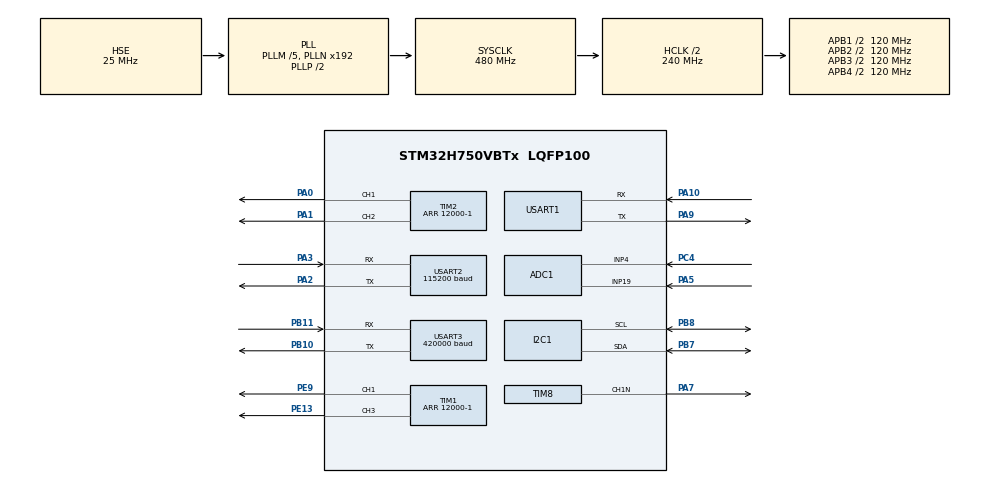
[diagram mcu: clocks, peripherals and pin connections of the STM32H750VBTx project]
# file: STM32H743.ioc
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ADC1.Channel-0\#ChannelRegularConversion=ADC_CHANNEL_4
ADC1.NbrOfConversionFlag=1
ADC1.OffsetNumber-0\#ChannelRegularConversion=ADC_OFFSET_NONE
ADC1.OffsetSignedSaturation-0\#ChannelRegularConversion=DISABLE
ADC1.Rank-0\#ChannelRegularConversion=1
ADC1.SamplingTime-0\#ChannelRegularConversion=ADC_SAMPLETIME_1CYCLE_5
ADC1.master=1
CORTEX_M7.CPU_DCache=Enabled
CORTEX_M7.CPU_ICache=Enabled
CORTEX_M7.default_mode_Activation=0
Dma.ADC1.0.Direction=DMA_PERIPH_TO_MEMORY
Dma.ADC1.0.EventEnable=DISABLE
Dma.ADC1.0.FIFOMode=DMA_FIFOMODE_DISABLE
Dma.ADC1.0.Instance=DMA1_Stream0
Dma.ADC1.0.MemDataAlignment=DMA_MDATAALIGN_HALFWORD
Dma.ADC1.0.MemInc=DMA_MINC_ENABLE
Dma.ADC1.0.Mode=DMA_CIRCULAR
Dma.ADC1.0.PeriphDataAlignment=DMA_PDATAALIGN_HALFWORD
Dma.ADC1.0.PeriphInc=DMA_PINC_DISABLE
Dma.ADC1.0.Polarity=HAL_DMAMUX_REQ_GEN_RISING
Dma.ADC1.0.Priority=DMA_PRIORITY_LOW
Dma.ADC1.0.RequestNumber=1
Dma.ADC1.0.SignalID=NONE
Dma.ADC1.0.SyncEnable=DISABLE
Dma.ADC1.0.SyncPolarity=HAL_DMAMUX_SYNC_NO_EVENT
Dma.ADC1.0.SyncRequestNumber=1
Dma.ADC1.0.SyncSignalID=NONE
Dma.Request0=ADC1
Dma.Request1=USART3_RX
Dma.USART3_RX.1.Direction=DMA_PERIPH_TO_MEMORY
Dma.USART3_RX.1.EventEnable=DISABLE
Dma.USART3_RX.1.FIFOMode=DMA_FIFOMODE_DISABLE
Dma.USART3_RX.1.Instance=DMA1_Stream1
Dma.USART3_RX.1.MemDataAlignment=DMA_MDATAALIGN_BYTE
Dma.USART3_RX.1.MemInc=DMA_MINC_ENABLE
Dma.USART3_RX.1.Mode=DMA_CIRCULAR
Dma.USART3_RX.1.PeriphDataAlignment=DMA_PDATAALIGN_BYTE
Dma.USART3_RX.1.PeriphInc=DMA_PINC_DISABLE
Dma.USART3_RX.1.Polarity=HAL_DMAMUX_REQ_GEN_RISING
Dma.USART3_RX.1.Priority=DMA_PRIORITY_LOW
Dma.USART3_RX.1.RequestNumber=1
Dma.USART3_RX.1.SignalID=NONE
Dma.USART3_RX.1.SyncEnable=DISABLE
Dma.USART3_RX.1.SyncPolarity=HAL_DMAMUX_SYNC_NO_EVENT
Dma.USART3_RX.1.SyncRequestNumber=1
Dma.USART3_RX.1.SyncSignalID=NONE
I2C1.Timing=0x307075B1
Mcu.Family=STM32H7
Mcu.Name=STM32H750VBTx
Mcu.Package=LQFP100
NVIC.ADC_IRQn=true\:0\:0\:false\:false\:true\:true\:true\:true
NVIC.DMA1_Stream0_IRQn=true\:0\:0\:false\:false\:true\:false\:true\:true
NVIC.DMA1_Stream1_IRQn=true\:0\:0\:false\:false\:true\:false\:true\:true
NVIC.PriorityGroup=NVIC_PRIORITYGROUP_4
NVIC.USART1_IRQn=true\:0\:0\:false\:false\:true\:true\:true\:true
NVIC.USART2_IRQn=true\:0\:0\:false\:false\:true\:true\:true\:true
NVIC.USART3_IRQn=true\:0\:0\:false\:false\:true\:true\:true\:true
PA0.Signal=S_TIM2_CH1_ETR
PA1.Signal=S_TIM2_CH2
PA10.GPIO_Speed=GPIO_SPEED_FREQ_VERY_HIGH
PA10.Mode=Asynchronous
PA10.Signal=USART1_RX
PA13\ (JTMS/SWDIO).Mode=Serial_Wire
PA13\ (JTMS/SWDIO).Signal=DEBUG_JTMS-SWDIO
PA14\ (JTCK/SWCLK).Mode=Serial_Wire
PA14\ (JTCK/SWCLK).Signal=DEBUG_JTCK-SWCLK
PA2.Mode=Asynchronous
PA2.Signal=USART2_TX
PA3.Mode=Asynchronous
PA3.Signal=USART2_RX
PA5.Signal=ADCx_INP19
PA7.Mode=PWM Generation1 CH1N
PA7.Signal=TIM8_CH1N
PA9.GPIO_Speed=GPIO_SPEED_FREQ_VERY_HIGH
PA9.Mode=Asynchronous
PA9.Signal=USART1_TX
PB10.Mode=Asynchronous
PB10.Signal=USART3_TX
PB11.Mode=Asynchronous
PB11.Signal=USART3_RX
PB7.Mode=I2C
PB7.Signal=I2C1_SDA
PB8.Mode=I2C
PB8.Signal=I2C1_SCL
PC4.Signal=ADCx_INP4
PE13.Signal=S_TIM1_CH3
PE9.Signal=S_TIM1_CH1
PH0-OSC_IN\ (PH0).Mode=HSE-External-Oscillator
PH0-OSC_IN\ (PH0).Signal=RCC_OSC_IN
PH1-OSC_OUT\ (PH1).Mode=HSE-External-Oscillator
PH1-OSC_OUT\ (PH1).Signal=RCC_OSC_OUT
ProjectManager.HeapSize=0x200
ProjectManager.StackSize=0x400
ProjectManager.TargetToolchain=MDK-ARM V5.32
RCC.ADCFreq_Value=75000000
RCC.APB1Freq_Value=120000000
RCC.APB2Freq_Value=120000000
RCC.APB3Freq_Value=120000000
RCC.APB4Freq_Value=120000000
RCC.CortexFreq_Value=480000000
RCC.D1PPRE=RCC_APB3_DIV2
RCC.D2PPRE1=RCC_APB1_DIV2
RCC.D2PPRE2=RCC_APB2_DIV2
RCC.D3PPRE=RCC_APB4_DIV2
RCC.DIVM1=5
RCC.DIVM2=2
RCC.DIVN1=192
RCC.DIVN2=12
RCC.DIVQ1=4
RCC.HCLKFreq_Value=240000000
RCC.HPRE=RCC_HCLK_DIV2
RCC.PLLSourceVirtual=RCC_PLLSOURCE_HSE
RCC.PWR_Regulator_Voltage_Scale=PWR_REGULATOR_VOLTAGE_SCALE0
RCC.ProductRev=revV
RCC.RTCClockSelection=RCC_RTCCLKSOURCE_LSE
RCC.SYSCLKFreq_VALUE=480000000
RCC.SYSCLKSource=RCC_SYSCLKSOURCE_PLLCLK
RCC.USBCLockSelection=RCC_USBCLKSOURCE_HSI48
RCC.USBFreq_Value=48000000
SH.ADCx_INP19.0=ADC1_INP19,IN19-Single-Ended
SH.ADCx_INP4.0=ADC1_INP4,IN4-Single-Ended
SH.S_TIM1_CH1.0=TIM1_CH1,PWM Generation1 CH1
SH.S_TIM1_CH3.0=TIM1_CH3,PWM Generation3 CH3
SH.S_TIM2_CH1_ETR.0=TIM2_CH1,PWM Generation1 CH1
SH.S_TIM2_CH2.0=TIM2_CH2,PWM Generation2 CH2
TIM1.AutoReloadPreload=TIM_AUTORELOAD_PRELOAD_ENABLE
TIM1.Channel-PWM\ Generation1\ CH1=TIM_CHANNEL_1
TIM1.Channel-PWM\ Generation3\ CH3=TIM_CHANNEL_3
TIM1.Period=12000-1
TIM2.AutoReloadPreload=TIM_AUTORELOAD_PRELOAD_ENABLE
TIM2.Channel-PWM\ Generation1\ CH1=TIM_CHANNEL_1
TIM2.Channel-PWM\ Generation2\ CH2=TIM_CHANNEL_2
TIM2.Period=12000-1
TIM8.Channel-PWM\ Generation1\ CH1N=TIM_CHANNEL_1
USART1.VirtualMode-Asynchronous=VM_ASYNC
USART2.BaudRate=115200
USART2.VirtualMode-Asynchronous=VM_ASYNC
USART3.BaudRate=420000
USART3.VirtualMode-Asynchronous=VM_ASYNC
VP_MEMORYMAP_VS_MEMORYMAP.Mode=CurAppReg
VP_TIM1_VS_ClockSourceINT.Mode=Internal
VP_TIM2_VS_ClockSourceINT.Mode=Internal
board=custom

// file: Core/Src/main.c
/* USER CODE BEGIN Header */
/**
  ******************************************************************************
  * @file           : main.c
  * @brief          : Main program body
  ******************************************************************************
  * @attention
  *
  * Copyright (c) 2026 STMicroelectronics.
  * All rights reserved.
  *
  * This software is licensed under terms that can be found in the LICENSE file
  * in the root directory of this software component.
  * If no LICENSE file comes with this software, it is provided AS-IS.
  *
  ******************************************************************************
  */
/* USER CODE END Header */
#include "main.h"

/* USER CODE BEGIN Includes */
#include "led.h"
#include "oled.h"
#include "pid.h"
#include "usart.h"
#include "vofa.h"
#include "adc.h"
#include "motor.h"
#include "crsf_task.h"
/* USER CODE END Includes */

/* USER CODE BEGIN PD */
#define UART1_ADC_DEBUG_ENABLE        0U
#define UART1_ADC_DEBUG_PERIOD_MS   100U

#define CURRENT_PID_LOOP_PERIOD_MS   20U
#define CURRENT_PID_OUTPUT_LIMIT_MA  5000.0f
#define CURRENT_PID_INT_LIMIT        1000.0f
#define CURRENT_PID_FEEDBACK_CH      1U  /* 1 = ADC ch1, 2 = ADC ch2 */
#define VOFA_TX_PERIOD_MS            10U
#define VOFA_TX_FLOAT_COUNT          4U
/* CRSF UART link on the FC side uses 420000 8N1 in this project. */
#define CRSF_UART_BAUDRATE        420000U

/* USER CODE END PD */

ADC_HandleTypeDef hadc1;
DMA_HandleTypeDef hdma_adc1;

I2C_HandleTypeDef hi2c1;

TIM_HandleTypeDef htim1;
TIM_HandleTypeDef htim2;
TIM_HandleTypeDef htim8;

UART_HandleTypeDef huart1;
UART_HandleTypeDef huart2;
UART_HandleTypeDef huart3;
DMA_HandleTypeDef hdma_usart3_rx;

/* USER CODE BEGIN PV */
static volatile float s_current_pid_fwd_kp = 0.90f;
static volatile float s_current_pid_fwd_ki = 0.35f;
static volatile float s_current_pid_fwd_kd = 0.00f;
static volatile float s_current_pid_rev_kp = 0.90f;
static volatile float s_current_pid_rev_ki = 0.35f;
static volatile float s_current_pid_rev_kd = 0.00f;
static volatile float s_current_pid_target_mA = 0.0f;
static volatile float s_motor_b_target_mA     = 0.0f;
static volatile float s_current_pid_feedback_mA = 0.0f;
static volatile float s_current_pid_error_mA = 0.0f;
static volatile float s_current_pid_output_mA = 0.0f;
static volatile uint8_t s_current_pid_param_updated = 0U;
static volatile uint8_t s_target_from_vofa = 1U;
static current_pid_t s_current_pid = {0};
static uint32_t s_reset_flags = 0U;
volatile uint8_t g_pid_run_flag = 0U;
/* USER CODE END PV */

void SystemClock_Config(void);
static void MX_GPIO_Init(void);
static void MX_DMA_Init(void);
static void MX_USART1_UART_Init(void);
static void MX_ADC1_Init(void);
static void MX_TIM1_Init(void);
static void MX_TIM2_Init(void);
static void MX_TIM8_Init(void);
static void MX_USART2_UART_Init(void);
static void MX_I2C1_Init(void);
static void MX_USART3_UART_Init(void);
/* USER CODE BEGIN PFP */
static void App_CaptureResetCause(void);
static void App_PrintResetCause(void);
static void App_CurrentPidApplyConfig(void);
static float App_CurrentPidStep(float target_mA, float feedback_mA, float dt_s);

/* USER CODE END PFP */

/* USER CODE BEGIN 0 */
static void App_CaptureResetCause(void)
{
  s_reset_flags = RCC->RSR;
  __HAL_RCC_CLEAR_RESET_FLAGS();
}

static void App_PrintResetCause(void)
{
  printf("RESET: RSR=0x%08lX [%s%s%s%s%s%s]\r\n",
      (unsigned long)s_reset_flags,
      ((s_reset_flags & RCC_RSR_PINRSTF) != 0U) ? "PIN " : "",
      ((s_reset_flags & RCC_RSR_PORRSTF) != 0U) ? "POR " : "",
      ((s_reset_flags & RCC_RSR_BORRSTF) != 0U) ? "BOR " : "",
      ((s_reset_flags & RCC_RSR_SFTRSTF) != 0U) ? "SFT " : "",
      ((s_reset_flags & RCC_RSR_IWDG1RSTF) != 0U) ? "IWDG " : "",
      ((s_reset_flags & RCC_RSR_WWDG1RSTF) != 0U) ? "WWDG " : "");
}

static void App_CurrentPidApplyConfig(void)
{
  CurrentPID_Init(&s_current_pid,
                  s_current_pid_fwd_kp,
                  s_current_pid_fwd_ki,
                  s_current_pid_fwd_kd,
                  s_current_pid_rev_kp,
                  s_current_pid_rev_ki,
                  s_current_pid_rev_kd,
                  CURRENT_PID_INT_LIMIT,
                  CURRENT_PID_OUTPUT_LIMIT_MA);
}

static float App_CurrentPidStep(float target_mA, float feedback_mA, float dt_s)
{
  s_current_pid_error_mA = target_mA - feedback_mA;
  return CurrentPID_Compute(&s_current_pid, target_mA, feedback_mA, dt_s);
}

static void App_VofaParamHandler(uint16_t id, float value)
{
  uint8_t handled = 0U;

	if (id == VOFA_PARAM_ID_CURRENT_FWD_KP)
	{
    s_current_pid_fwd_kp = value;
    handled = 1U;
	}
	else if (id == VOFA_PARAM_ID_CURRENT_FWD_KI)
	{
    s_current_pid_fwd_ki = value;
    handled = 1U;
	}
	else if (id == VOFA_PARAM_ID_CURRENT_REV_KP)
	{
    s_current_pid_rev_kp = value;
    handled = 1U;
	}
	else if (id == VOFA_PARAM_ID_CURRENT_REV_KI)
	{
    s_current_pid_rev_ki = value;
    handled = 1U;
	}
	else if (id == VOFA_PARAM_ID_TARGET_MA)
	{
    s_current_pid_target_mA = value;
    s_target_from_vofa = 1U;
  }

  if (handled != 0U)
  {
    s_current_pid_param_updated = 1U;
  }
}
/* USER CODE END 0 */

int main(void)
{

  /* USER CODE BEGIN 1 */
  /* Test variables for UART printf retargeting */
//  uint16_t a = 128;
//	float b = 9.123456;
//	char* show_buffer[128];
	uint16_t adc_raw[2] = {0};
  uint32_t last_uart1_adc_tick = 0U;
  uint32_t last_uart1_rc_tick = 0U;
  int16_t last_rc_lx10 = 0;
  int16_t last_rc_ly10 = 0;
  int16_t last_rc_rx10 = 0;
  int16_t last_rc_ry10 = 0;
  uint8_t last_rc_a = 0U;
  uint8_t last_rc_b = 0U;
  uint8_t last_rc_c = 0U;
  uint8_t last_rc_d = 0U;
  uint8_t last_rc_e = 0U;
  uint8_t last_rc_f = 0U;
  uint8_t last_rc_lq = 0U;
  uint16_t last_rc_hb = 0U;
  uint8_t rc_print_initialized = 0U;
  uint32_t last_vofa_tx_tick = 0U;
  uint32_t last_vofa_err_print_tick = 0U;
  uint32_t last_vofa_err_count = 0U;
  uint32_t last_crsf_diag_tick = 0U;
  uint32_t last_crsf_no_frame_tick = 0U;
  uint8_t last_crsf_connected = 0xFFU;
  uint32_t last_crsf_frame_count = 0U;
  uint32_t last_crsf_err_count = 0U;
  /* USER CODE END 1 */

  /* Enable the CPU Cache */

  /* Enable I-Cache---------------------------------------------------------*/
  SCB_EnableICache();

  /* Enable D-Cache---------------------------------------------------------*/
  SCB_EnableDCache();

  /* MCU Configuration--------------------------------------------------------*/

  /* Reset of all peripherals, Initializes the Flash interface and the Systick. */
  HAL_Init();

  /* Configure the system clock */
  SystemClock_Config();

  /* Initialize all configured peripherals */
  MX_GPIO_Init();
  MX_DMA_Init();
  MX_USART1_UART_Init();
  MX_ADC1_Init();
  MX_TIM1_Init();
  MX_TIM2_Init();
  MX_TIM8_Init();
  MX_USART2_UART_Init();
  MX_I2C1_Init();
  MX_USART3_UART_Init();
  /* USER CODE BEGIN 2 */
  LED_Init();
  App_PrintResetCause();
  printf("BOOT: LED_Init done\r\n");

  VOFA_Init();
  printf("BOOT: VOFA_Init done\r\n");

  VOFA_SetParamCallback(App_VofaParamHandler);

  printf("BOOT: VOFA_Begin start\r\n");
  if (VOFA_Begin() != HAL_OK)
	{
		Error_Handler();
	}
  printf("BOOT: VOFA_Begin done\r\n");
  App_CurrentPidApplyConfig();

  // printf("BOOT: OLED_Init start\r\n");
	// OLED_Init();
  // printf("BOOT: OLED_Init done\r\n");

	/* Initialize ADC for current sensing */
  printf("BOOT: ADC_Init start\r\n");
	ADC_Init();
  printf("BOOT: ADC_Init done\r\n");

  printf("BOOT: ADC_StartDMA start\r\n");
	if (ADC_StartDMA() != HAL_OK)
	{
		Error_Handler();
	}
  printf("BOOT: ADC_StartDMA done\r\n");

  /* Initialize TIM1/TIM2 and start PWM channels.
   * Starting TIM1 also enables TIM1 TRGO, which triggers ADC conversions. */
  Motor_Init();
  printf("BOOT: Motor_Init done\r\n");

  CRSF_Init();
  printf("BOOT: CRSF_Init done (USART3 PB11 @ %lu)\r\n", (unsigned long)CRSF_UART_BAUDRATE);

  printf("VOFA param map: #P1=fwd_kp #P2=fwd_ki #P3=rev_kp #P4=rev_ki #P5=target_mA\r\n");
  printf("VOFA wave map: ch0=target ch1=feedback ch2=output ch3=error (4ch, 10Hz)\r\n");

  printf("STM32H743 initialized\r\n");
	printf("printf testing\r\n");
  /* USER CODE END 2 */

  /* Infinite loop */
  while (1)
  {

    /* USER CODE BEGIN 3 */
		// LED1_Toggle;
		// HAL_Delay(1);

    VOFA_ProcessRx();

    if ((HAL_GetTick() - last_vofa_tx_tick) >= VOFA_TX_PERIOD_MS)
    {
      float vofa_frame[VOFA_TX_FLOAT_COUNT];

      last_vofa_tx_tick = HAL_GetTick();

      vofa_frame[0] = s_current_pid_target_mA;
      vofa_frame[1] = s_current_pid_feedback_mA;
      vofa_frame[2] = s_current_pid_output_mA;
      vofa_frame[3] = s_current_pid_error_mA;

      (void)VOFA_SendFloats(vofa_frame, VOFA_TX_FLOAT_COUNT);
    }

    if ((HAL_GetTick() - last_vofa_err_print_tick) >= 200U)
    {
      uint32_t err_count = VOFA_GetUartErrorCount();
      if (err_count != last_vofa_err_count)
      {
        last_vofa_err_count = err_count;
        printf("VOFA UART err cnt=%lu code=0x%08lX isr=0x%08lX\r\n",
            (unsigned long)err_count,
            (unsigned long)VOFA_GetUartLastError(),
            (unsigned long)VOFA_GetUartLastIsr());
      }
      last_vofa_err_print_tick = HAL_GetTick();
    }

    if ((HAL_GetTick() - last_crsf_diag_tick) >= 200U)
    {
      crsf_status_t st = {0};
      uint32_t crsf_idle_ms;
      CRSF_GetStatus(&st);
      crsf_idle_ms = HAL_GetTick() - st.last_frame_tick;

      if ((st.connected != last_crsf_connected)
          || (st.frame_count != last_crsf_frame_count)
          || (st.error_count != last_crsf_err_count))
      {
        last_crsf_connected = st.connected;
        last_crsf_frame_count = st.frame_count;
        last_crsf_err_count = st.error_count;
        printf("CRSF st: conn=%u idle_ms=%lu frame=%u err=%u parse=%u uart_tot=%u uart(pe=%u fe=%u ne=%u ore=%u) last=0x%08lX\r\n",
            (unsigned int)st.connected,
            (unsigned long)crsf_idle_ms,
            (unsigned int)st.frame_count,
            (unsigned int)st.error_count,
          (unsigned int)st.parse_error_count,
          (unsigned int)st.uart_error_total,
            (unsigned int)st.uart_err_pe,
            (unsigned int)st.uart_err_fe,
            (unsigned int)st.uart_err_ne,
            (unsigned int)st.uart_err_ore,
            (unsigned long)st.last_uart_error);
        printf("  parse_detail: sync_loss=%u sync_skip=%u len_err=%u crc=%u unknown_type=%u rc_fail=%u short=%u\r\n",
          (unsigned int)st.parse_detail.sync_loss_events,
          (unsigned int)st.parse_detail.sync_skip_bytes,
            (unsigned int)st.parse_detail.len_invalid,
            (unsigned int)st.parse_detail.crc_error,
            (unsigned int)st.parse_detail.unknown_type,
            (unsigned int)st.parse_detail.rc_decode_fail,
            (unsigned int)st.parse_detail.frame_too_short);
      }
      last_crsf_diag_tick = HAL_GetTick();

      if ((st.frame_count == 0U) && ((HAL_GetTick() - last_crsf_no_frame_tick) >= 1000U))
      {
        last_crsf_no_frame_tick = HAL_GetTick();
        printf("CRSF no frame: conn=%u idle_ms=%lu uart_tot=%u last=0x%08lX\r\n",
            (unsigned int)st.connected,
            (unsigned long)crsf_idle_ms,
            (unsigned int)st.uart_error_total,
            (unsigned long)st.last_uart_error);
      }
    }

    if ((HAL_GetTick() - last_uart1_rc_tick) >= 100U)
    {
      ELRS_Data rc_data = {0};
      int16_t lx10;
      int16_t ly10;
      int16_t rx10;
      int16_t ry10;
      CRSF_GetElrsData(&rc_data);
      if (rc_data.valid != 0U)
      {
        lx10 = (int16_t)(rc_data.Left_X * 10.0f);
        ly10 = (int16_t)(rc_data.Left_Y * 10.0f);
        rx10 = (int16_t)(rc_data.Right_X * 10.0f);
        ry10 = (int16_t)(rc_data.Right_Y * 10.0f);

        if ((rc_print_initialized == 0U)
            || (lx10 != last_rc_lx10)
            || (ly10 != last_rc_ly10)
            || (rx10 != last_rc_rx10)
            || (ry10 != last_rc_ry10)
            || (rc_data.A != last_rc_a)
            || (rc_data.B != last_rc_b)
            || (rc_data.C != last_rc_c)
            || (rc_data.D != last_rc_d)
            || (rc_data.E != last_rc_e)
            || (rc_data.F != last_rc_f)
            || (rc_data.uplink_Link_quality != last_rc_lq)
            || (rc_data.heartbeat_counter != last_rc_hb))
        {
          printf("RC LX=%.1f LY=%.1f RX=%.1f RY=%.1f A=%u B=%u C=%u D=%u E=%u F=%u LQ=%u HB=%u\r\n",
              (double)rc_data.Left_X,
              (double)rc_data.Left_Y,
              (double)rc_data.Right_X,
              (double)rc_data.Right_Y,
              (unsigned int)rc_data.A,
              (unsigned int)rc_data.B,
              (unsigned int)rc_data.C,
              (unsigned int)rc_data.D,
              (unsigned int)rc_data.E,
              (unsigned int)rc_data.F,
              (unsigned int)rc_data.uplink_Link_quality,
              (unsigned int)rc_data.heartbeat_counter);

          last_rc_lx10 = lx10;
          last_rc_ly10 = ly10;
          last_rc_rx10 = rx10;
          last_rc_ry10 = ry10;
          last_rc_a = rc_data.A;
          last_rc_b = rc_data.B;
          last_rc_c = rc_data.C;
          last_rc_d = rc_data.D;
          last_rc_e = rc_data.E;
          last_rc_f = rc_data.F;
          last_rc_lq = rc_data.uplink_Link_quality;
          last_rc_hb = rc_data.heartbeat_counter;
          rc_print_initialized = 1U;
        }
      }
      last_uart1_rc_tick = HAL_GetTick();
    }

    if (g_pid_run_flag != 0U)
		{
			float current_ch1_mA;
			float current_ch2_mA;

      g_pid_run_flag = 0U;

      if (s_current_pid_param_updated != 0U)
      {
        s_current_pid_param_updated = 0U;
        App_CurrentPidApplyConfig();
        printf("VOFA fwd(kp=%.3f ki=%.3f kd=%.3f) rev(kp=%.3f ki=%.3f kd=%.3f) target=%.3f\r\n",
            (double)s_current_pid_fwd_kp,
            (double)s_current_pid_fwd_ki,
            (double)s_current_pid_fwd_kd,
            (double)s_current_pid_rev_kp,
            (double)s_current_pid_rev_ki,
            (double)s_current_pid_rev_kd,
            (double)s_current_pid_target_mA);
      }

      /* CRSF timeout check + RC→target mixing */
      CRSF_Process();
      {
          crsf_input_t rc = {0};
          CRSF_GetInput(&rc);
          if (rc.valid && (rc.estop == 0U) && (rc.handbrake == 0U))
          {
              /* Tank-steer mixing: A = throttle+steer, B = throttle-steer */
              s_current_pid_target_mA = (rc.throttle + rc.steering) * CURRENT_PID_OUTPUT_LIMIT_MA;
              s_motor_b_target_mA     = (rc.throttle - rc.steering) * CURRENT_PID_OUTPUT_LIMIT_MA;
              s_target_from_vofa      = 0U;
          }
          else
          {
              if (s_target_from_vofa == 0U)
              {
                  s_current_pid_target_mA = 0.0f;
              }
              s_motor_b_target_mA = 0.0f;
          }
      }

			/* Read ADC current values */
			ADC_GetValues(adc_raw);
			current_ch1_mA = ADC_RawToCurrent_mA(adc_raw[0]);
			current_ch2_mA = ADC_RawToCurrent_mA(adc_raw[1]);

#if (UART1_ADC_DEBUG_ENABLE != 0U)
      if ((HAL_GetTick() - last_uart1_adc_tick) >= UART1_ADC_DEBUG_PERIOD_MS)
      {
        last_uart1_adc_tick = HAL_GetTick();
    printf("ADC raw: ch1=%u, %.2fmA | ch2=%u, %.2fmA | fb_ch=%u, fb=%.2fmA\r\n",
            (unsigned int)adc_raw[0],
            (double)current_ch1_mA,
            (unsigned int)adc_raw[1],
    (double)current_ch2_mA,
    (unsigned int)CURRENT_PID_FEEDBACK_CH,
    (double)s_current_pid_feedback_mA);
      }
#endif

#if (CURRENT_PID_FEEDBACK_CH == 1U)
      s_current_pid_feedback_mA = current_ch1_mA;
#else
      s_current_pid_feedback_mA = current_ch2_mA;
#endif

      s_current_pid_output_mA = App_CurrentPidStep(
          s_current_pid_target_mA,
          s_current_pid_feedback_mA,
          (float)CURRENT_PID_LOOP_PERIOD_MS / 1000.0f);

      Motor_SetOutput(MOTOR_A, s_current_pid_output_mA, CURRENT_PID_OUTPUT_LIMIT_MA);
      Motor_SetOutput(MOTOR_B, s_motor_b_target_mA,    CURRENT_PID_OUTPUT_LIMIT_MA);
		}
  }
  /* USER CODE END 3 */
}

void SystemClock_Config(void)
{
  RCC_OscInitTypeDef RCC_OscInitStruct = {0};
  RCC_ClkInitTypeDef RCC_ClkInitStruct = {0};

  /** Supply configuration update enable
  */
  HAL_PWREx_ConfigSupply(PWR_LDO_SUPPLY);

  /** Configure the main internal regulator output voltage
  */
  __HAL_PWR_VOLTAGESCALING_CONFIG(PWR_REGULATOR_VOLTAGE_SCALE0);

  while(!__HAL_PWR_GET_FLAG(PWR_FLAG_VOSRDY)) {}

  /** Initializes the RCC Oscillators according to the specified parameters
  * in the RCC_OscInitTypeDef structure.
  */
  RCC_OscInitStruct.OscillatorType = RCC_OSCILLATORTYPE_HSE;
  RCC_OscInitStruct.HSEState = RCC_HSE_ON;
  RCC_OscInitStruct.PLL.PLLState = RCC_PLL_ON;
  RCC_OscInitStruct.PLL.PLLSource = RCC_PLLSOURCE_HSE;
  RCC_OscInitStruct.PLL.PLLM = 5;
  RCC_OscInitStruct.PLL.PLLN = 192;
  RCC_OscInitStruct.PLL.PLLP = 2;
  RCC_OscInitStruct.PLL.PLLQ = 4;
  RCC_OscInitStruct.PLL.PLLR = 2;
  RCC_OscInitStruct.PLL.PLLRGE = RCC_PLL1VCIRANGE_2;
  RCC_OscInitStruct.PLL.PLLVCOSEL = RCC_PLL1VCOWIDE;
  RCC_OscInitStruct.PLL.PLLFRACN = 0;
  if (HAL_RCC_OscConfig(&RCC_OscInitStruct) != HAL_OK)
  {
    Error_Handler();
  }

  /** Initializes the CPU, AHB and APB buses clocks
  */
  RCC_ClkInitStruct.ClockType = RCC_CLOCKTYPE_HCLK|RCC_CLOCKTYPE_SYSCLK
                              |RCC_CLOCKTYPE_PCLK1|RCC_CLOCKTYPE_PCLK2
                              |RCC_CLOCKTYPE_D3PCLK1|RCC_CLOCKTYPE_D1PCLK1;
  RCC_ClkInitStruct.SYSCLKSource = RCC_SYSCLKSOURCE_PLLCLK;
  RCC_ClkInitStruct.SYSCLKDivider = RCC_SYSCLK_DIV1;
  RCC_ClkInitStruct.AHBCLKDivider = RCC_HCLK_DIV2;
  RCC_ClkInitStruct.APB3CLKDivider = RCC_APB3_DIV2;
  RCC_ClkInitStruct.APB1CLKDivider = RCC_APB1_DIV2;
  RCC_ClkInitStruct.APB2CLKDivider = RCC_APB2_DIV2;
  RCC_ClkInitStruct.APB4CLKDivider = RCC_APB4_DIV2;

  if (HAL_RCC_ClockConfig(&RCC_ClkInitStruct, FLASH_LATENCY_4) != HAL_OK)
  {
    Error_Handler();
  }
}

static void MX_ADC1_Init(void)
{

  ADC_MultiModeTypeDef multimode = {0};
  ADC_ChannelConfTypeDef sConfig = {0};

  /** Common config
  */
  hadc1.Instance = ADC1;
  hadc1.Init.ClockPrescaler = ADC_CLOCK_ASYNC_DIV1;
  hadc1.Init.Resolution = ADC_RESOLUTION_16B;
  hadc1.Init.ScanConvMode = ADC_SCAN_DISABLE;
  hadc1.Init.EOCSelection = ADC_EOC_SINGLE_CONV;
  hadc1.Init.LowPowerAutoWait = DISABLE;
  hadc1.Init.ContinuousConvMode = DISABLE;
  hadc1.Init.NbrOfConversion = 1;
  hadc1.Init.DiscontinuousConvMode = DISABLE;
  hadc1.Init.ExternalTrigConv = ADC_SOFTWARE_START;
  hadc1.Init.ExternalTrigConvEdge = ADC_EXTERNALTRIGCONVEDGE_NONE;
  hadc1.Init.ConversionDataManagement = ADC_CONVERSIONDATA_DR;
  hadc1.Init.Overrun = ADC_OVR_DATA_PRESERVED;
  hadc1.Init.LeftBitShift = ADC_LEFTBITSHIFT_NONE;
  hadc1.Init.OversamplingMode = DISABLE;
  hadc1.Init.Oversampling.Ratio = 1;
  if (HAL_ADC_Init(&hadc1) != HAL_OK)
  {
    Error_Handler();
  }

  /** Configure the ADC multi-mode
  */
  multimode.Mode = ADC_MODE_INDEPENDENT;
  if (HAL_ADCEx_MultiModeConfigChannel(&hadc1, &multimode) != HAL_OK)
  {
    Error_Handler();
  }

  /** Configure Regular Channel
  */
  sConfig.Channel = ADC_CHANNEL_4;
  sConfig.Rank = ADC_REGULAR_RANK_1;
  sConfig.SamplingTime = ADC_SAMPLETIME_1CYCLE_5;
  sConfig.SingleDiff = ADC_SINGLE_ENDED;
  sConfig.OffsetNumber = ADC_OFFSET_NONE;
  sConfig.Offset = 0;
  sConfig.OffsetSignedSaturation = DISABLE;
  if (HAL_ADC_ConfigChannel(&hadc1, &sConfig) != HAL_OK)
  {
    Error_Handler();
  }

}

static void MX_I2C1_Init(void)
{

  hi2c1.Instance = I2C1;
  hi2c1.Init.Timing = 0x307075B1;
  hi2c1.Init.OwnAddress1 = 0;
  hi2c1.Init.AddressingMode = I2C_ADDRESSINGMODE_7BIT;
  hi2c1.Init.DualAddressMode = I2C_DUALADDRESS_DISABLE;
  hi2c1.Init.OwnAddress2 = 0;
  hi2c1.Init.OwnAddress2Masks = I2C_OA2_NOMASK;
  hi2c1.Init.GeneralCallMode = I2C_GENERALCALL_DISABLE;
  hi2c1.Init.NoStretchMode = I2C_NOSTRETCH_DISABLE;
  if (HAL_I2C_Init(&hi2c1) != HAL_OK)
  {
    Error_Handler();
  }

  /** Configure Analogue filter
  */
  if (HAL_I2CEx_ConfigAnalogFilter(&hi2c1, I2C_ANALOGFILTER_ENABLE) != HAL_OK)
  {
    Error_Handler();
  }

  /** Configure Digital filter
  */
  if (HAL_I2CEx_ConfigDigitalFilter(&hi2c1, 0) != HAL_OK)
  {
    Error_Handler();
  }

}

static void MX_TIM1_Init(void)
{

  TIM_ClockConfigTypeDef sClockSourceConfig = {0};
  TIM_MasterConfigTypeDef sMasterConfig = {0};
  TIM_OC_InitTypeDef sConfigOC = {0};
  TIM_BreakDeadTimeConfigTypeDef sBreakDeadTimeConfig = {0};

  htim1.Instance = TIM1;
  htim1.Init.Prescaler = 0;
  htim1.Init.CounterMode = TIM_COUNTERMODE_UP;
  htim1.Init.Period = 12000-1;
  htim1.Init.ClockDivision = TIM_CLOCKDIVISION_DIV1;
  htim1.Init.RepetitionCounter = 0;
  htim1.Init.AutoReloadPreload = TIM_AUTORELOAD_PRELOAD_ENABLE;
  if (HAL_TIM_Base_Init(&htim1) != HAL_OK)
  {
    Error_Handler();
  }
  sClockSourceConfig.ClockSource = TIM_CLOCKSOURCE_INTERNAL;
  if (HAL_TIM_ConfigClockSource(&htim1, &sClockSourceConfig) != HAL_OK)
  {
    Error_Handler();
  }
  if (HAL_TIM_PWM_Init(&htim1) != HAL_OK)
  {
    Error_Handler();
  }
  sMasterConfig.MasterOutputTrigger = TIM_TRGO_RESET;
  sMasterConfig.MasterOutputTrigger2 = TIM_TRGO2_RESET;
  sMasterConfig.MasterSlaveMode = TIM_MASTERSLAVEMODE_DISABLE;
  if (HAL_TIMEx_MasterConfigSynchronization(&htim1, &sMasterConfig) != HAL_OK)
  {
    Error_Handler();
  }
  sConfigOC.OCMode = TIM_OCMODE_PWM1;
  sConfigOC.Pulse = 0;
  sConfigOC.OCPolarity = TIM_OCPOLARITY_HIGH;
  sConfigOC.OCNPolarity = TIM_OCNPOLARITY_HIGH;
  sConfigOC.OCFastMode = TIM_OCFAST_DISABLE;
  sConfigOC.OCIdleState = TIM_OCIDLESTATE_RESET;
  sConfigOC.OCNIdleState = TIM_OCNIDLESTATE_RESET;
  if (HAL_TIM_PWM_ConfigChannel(&htim1, &sConfigOC, TIM_CHANNEL_1) != HAL_OK)
  {
    Error_Handler();
  }
  if (HAL_TIM_PWM_ConfigChannel(&htim1, &sConfigOC, TIM_CHANNEL_3) != HAL_OK)
  {
    Error_Handler();
  }
  sBreakDeadTimeConfig.OffStateRunMode = TIM_OSSR_DISABLE;
  sBreakDeadTimeConfig.OffStateIDLEMode = TIM_OSSI_DISABLE;
  sBreakDeadTimeConfig.LockLevel = TIM_LOCKLEVEL_OFF;
  sBreakDeadTimeConfig.DeadTime = 0;
  sBreakDeadTimeConfig.BreakState = TIM_BREAK_DISABLE;
  sBreakDeadTimeConfig.BreakPolarity = TIM_BREAKPOLARITY_HIGH;
  sBreakDeadTimeConfig.BreakFilter = 0;
  sBreakDeadTimeConfig.Break2State = TIM_BREAK2_DISABLE;
  sBreakDeadTimeConfig.Break2Polarity = TIM_BREAK2POLARITY_HIGH;
  sBreakDeadTimeConfig.Break2Filter = 0;
  sBreakDeadTimeConfig.AutomaticOutput = TIM_AUTOMATICOUTPUT_DISABLE;
  if (HAL_TIMEx_ConfigBreakDeadTime(&htim1, &sBreakDeadTimeConfig) != HAL_OK)
  {
    Error_Handler();
  }
  HAL_TIM_MspPostInit(&htim1);

}

static void MX_TIM2_Init(void)
{

  TIM_ClockConfigTypeDef sClockSourceConfig = {0};
  TIM_MasterConfigTypeDef sMasterConfig = {0};
  TIM_OC_InitTypeDef sConfigOC = {0};

  htim2.Instance = TIM2;
  htim2.Init.Prescaler = 0;
  htim2.Init.CounterMode = TIM_COUNTERMODE_UP;
  htim2.Init.Period = 12000-1;
  htim2.Init.ClockDivision = TIM_CLOCKDIVISION_DIV1;
  htim2.Init.AutoReloadPreload = TIM_AUTORELOAD_PRELOAD_ENABLE;
  if (HAL_TIM_Base_Init(&htim2) != HAL_OK)
  {
    Error_Handler();
  }
  sClockSourceConfig.ClockSource = TIM_CLOCKSOURCE_INTERNAL;
  if (HAL_TIM_ConfigClockSource(&htim2, &sClockSourceConfig) != HAL_OK)
  {
    Error_Handler();
  }
  if (HAL_TIM_PWM_Init(&htim2) != HAL_OK)
  {
    Error_Handler();
  }
  sMasterConfig.MasterOutputTrigger = TIM_TRGO_RESET;
  sMasterConfig.MasterSlaveMode = TIM_MASTERSLAVEMODE_DISABLE;
  if (HAL_TIMEx_MasterConfigSynchronization(&htim2, &sMasterConfig) != HAL_OK)
  {
    Error_Handler();
  }
  sConfigOC.OCMode = TIM_OCMODE_PWM1;
  sConfigOC.Pulse = 0;
  sConfigOC.OCPolarity = TIM_OCPOLARITY_HIGH;
  sConfigOC.OCFastMode = TIM_OCFAST_DISABLE;
  if (HAL_TIM_PWM_ConfigChannel(&htim2, &sConfigOC, TIM_CHANNEL_1) != HAL_OK)
  {
    Error_Handler();
  }
  if (HAL_TIM_PWM_ConfigChannel(&htim2, &sConfigOC, TIM_CHANNEL_2) != HAL_OK)
  {
    Error_Handler();
  }
  HAL_TIM_MspPostInit(&htim2);

}

static void MX_TIM8_Init(void)
{

  TIM_MasterConfigTypeDef sMasterConfig = {0};
  TIM_OC_InitTypeDef sConfigOC = {0};
  TIM_BreakDeadTimeConfigTypeDef sBreakDeadTimeConfig = {0};

  htim8.Instance = TIM8;
  htim8.Init.Prescaler = 0;
  htim8.Init.CounterMode = TIM_COUNTERMODE_UP;
  htim8.Init.Period = 65535;
  htim8.Init.ClockDivision = TIM_CLOCKDIVISION_DIV1;
  htim8.Init.RepetitionCounter = 0;
  htim8.Init.AutoReloadPreload = TIM_AUTORELOAD_PRELOAD_DISABLE;
  if (HAL_TIM_PWM_Init(&htim8) != HAL_OK)
  {
    Error_Handler();
  }
  sMasterConfig.MasterOutputTrigger = TIM_TRGO_RESET;
  sMasterConfig.MasterOutputTrigger2 = TIM_TRGO2_RESET;
  sMasterConfig.MasterSlaveMode = TIM_MASTERSLAVEMODE_DISABLE;
  if (HAL_TIMEx_MasterConfigSynchronization(&htim8, &sMasterConfig) != HAL_OK)
  {
    Error_Handler();
  }
  sConfigOC.OCMode = TIM_OCMODE_PWM1;
  sConfigOC.Pulse = 0;
  sConfigOC.OCPolarity = TIM_OCPOLARITY_HIGH;
  sConfigOC.OCNPolarity = TIM_OCNPOLARITY_HIGH;
  sConfigOC.OCFastMode = TIM_OCFAST_DISABLE;
  sConfigOC.OCIdleState = TIM_OCIDLESTATE_RESET;
  sConfigOC.OCNIdleState = TIM_OCNIDLESTATE_RESET;
  if (HAL_TIM_PWM_ConfigChannel(&htim8, &sConfigOC, TIM_CHANNEL_1) != HAL_OK)
  {
    Error_Handler();
  }
  sBreakDeadTimeConfig.OffStateRunMode = TIM_OSSR_DISABLE;
  sBreakDeadTimeConfig.OffStateIDLEMode = TIM_OSSI_DISABLE;
  sBreakDeadTimeConfig.LockLevel = TIM_LOCKLEVEL_OFF;
  sBreakDeadTimeConfig.DeadTime = 0;
  sBreakDeadTimeConfig.BreakState = TIM_BREAK_DISABLE;
  sBreakDeadTimeConfig.BreakPolarity = TIM_BREAKPOLARITY_HIGH;
  sBreakDeadTimeConfig.BreakFilter = 0;
  sBreakDeadTimeConfig.Break2State = TIM_BREAK2_DISABLE;
  sBreakDeadTimeConfig.Break2Polarity = TIM_BREAK2POLARITY_HIGH;
  sBreakDeadTimeConfig.Break2Filter = 0;
  sBreakDeadTimeConfig.AutomaticOutput = TIM_AUTOMATICOUTPUT_DISABLE;
  if (HAL_TIMEx_ConfigBreakDeadTime(&htim8, &sBreakDeadTimeConfig) != HAL_OK)
  {
    Error_Handler();
  }
  HAL_TIM_MspPostInit(&htim8);

}

static void MX_USART1_UART_Init(void)
{

  huart1.Instance = USART1;
  huart1.Init.BaudRate = 115200;
  huart1.Init.WordLength = UART_WORDLENGTH_8B;
  huart1.Init.StopBits = UART_STOPBITS_1;
  huart1.Init.Parity = UART_PARITY_NONE;
  huart1.Init.Mode = UART_MODE_TX_RX;
  huart1.Init.HwFlowCtl = UART_HWCONTROL_NONE;
  huart1.Init.OverSampling = UART_OVERSAMPLING_16;
  huart1.Init.OneBitSampling = UART_ONE_BIT_SAMPLE_DISABLE;
  huart1.Init.ClockPrescaler = UART_PRESCALER_DIV1;
  huart1.AdvancedInit.AdvFeatureInit = UART_ADVFEATURE_NO_INIT;
  if (HAL_UART_Init(&huart1) != HAL_OK)
  {
    Error_Handler();
  }
  if (HAL_UARTEx_SetTxFifoThreshold(&huart1, UART_TXFIFO_THRESHOLD_1_8) != HAL_OK)
  {
    Error_Handler();
  }
  if (HAL_UARTEx_SetRxFifoThreshold(&huart1, UART_RXFIFO_THRESHOLD_1_8) != HAL_OK)
  {
    Error_Handler();
  }
  if (HAL_UARTEx_DisableFifoMode(&huart1) != HAL_OK)
  {
    Error_Handler();
  }

}

static void MX_USART2_UART_Init(void)
{

  huart2.Instance = USART2;
  huart2.Init.BaudRate = 115200;
  huart2.Init.WordLength = UART_WORDLENGTH_8B;
  huart2.Init.StopBits = UART_STOPBITS_1;
  huart2.Init.Parity = UART_PARITY_NONE;
  huart2.Init.Mode = UART_MODE_TX_RX;
  huart2.Init.HwFlowCtl = UART_HWCONTROL_NONE;
  huart2.Init.OverSampling = UART_OVERSAMPLING_16;
  huart2.Init.OneBitSampling = UART_ONE_BIT_SAMPLE_DISABLE;
  huart2.Init.ClockPrescaler = UART_PRESCALER_DIV1;
  huart2.AdvancedInit.AdvFeatureInit = UART_ADVFEATURE_NO_INIT;
  if (HAL_UART_Init(&huart2) != HAL_OK)
  {
    Error_Handler();
  }
  if (HAL_UARTEx_SetTxFifoThreshold(&huart2, UART_TXFIFO_THRESHOLD_1_8) != HAL_OK)
  {
    Error_Handler();
  }
  if (HAL_UARTEx_SetRxFifoThreshold(&huart2, UART_RXFIFO_THRESHOLD_1_8) != HAL_OK)
  {
    Error_Handler();
  }
  if (HAL_UARTEx_DisableFifoMode(&huart2) != HAL_OK)
  {
    Error_Handler();
  }

}

static void MX_USART3_UART_Init(void)
{

  huart3.Instance = USART3;
  huart3.Init.BaudRate = 420000;
  huart3.Init.WordLength = UART_WORDLENGTH_8B;
  huart3.Init.StopBits = UART_STOPBITS_1;
  huart3.Init.Parity = UART_PARITY_NONE;
  huart3.Init.Mode = UART_MODE_TX_RX;
  huart3.Init.HwFlowCtl = UART_HWCONTROL_NONE;
  huart3.Init.OverSampling = UART_OVERSAMPLING_16;
  huart3.Init.OneBitSampling = UART_ONE_BIT_SAMPLE_DISABLE;
  huart3.Init.ClockPrescaler = UART_PRESCALER_DIV1;
  huart3.AdvancedInit.AdvFeatureInit = UART_ADVFEATURE_NO_INIT;
  if (HAL_UART_Init(&huart3) != HAL_OK)
  {
    Error_Handler();
  }
  if (HAL_UARTEx_SetTxFifoThreshold(&huart3, UART_TXFIFO_THRESHOLD_1_8) != HAL_OK)
  {
    Error_Handler();
  }
  if (HAL_UARTEx_SetRxFifoThreshold(&huart3, UART_RXFIFO_THRESHOLD_1_8) != HAL_OK)
  {
    Error_Handler();
  }
  if (HAL_UARTEx_DisableFifoMode(&huart3) != HAL_OK)
  {
    Error_Handler();
  }

}

static void MX_DMA_Init(void)
{

  /* DMA controller clock enable */
  __HAL_RCC_DMA1_CLK_ENABLE();

  /* DMA interrupt init */
  /* DMA1_Stream0_IRQn interrupt configuration */
  HAL_NVIC_SetPriority(DMA1_Stream0_IRQn, 0, 0);
  HAL_NVIC_EnableIRQ(DMA1_Stream0_IRQn);
  /* DMA1_Stream1_IRQn interrupt configuration */
  HAL_NVIC_SetPriority(DMA1_Stream1_IRQn, 0, 0);
  HAL_NVIC_EnableIRQ(DMA1_Stream1_IRQn);

}

static void MX_GPIO_Init(void)
{

  /* GPIO Ports Clock Enable */
  __HAL_RCC_GPIOH_CLK_ENABLE();
  __HAL_RCC_GPIOA_CLK_ENABLE();
  __HAL_RCC_GPIOC_CLK_ENABLE();
  __HAL_RCC_GPIOE_CLK_ENABLE();
  __HAL_RCC_GPIOB_CLK_ENABLE();

}

void Error_Handler(void)
{
  /* USER CODE BEGIN Error_Handler_Debug */
  /* User can add his own implementation to report the HAL error return state */
  __disable_irq();
  while (1)
  {
		LED1_Toggle;
		HAL_Delay(200);
  }
  /* USER CODE END Error_Handler_Debug */
}
